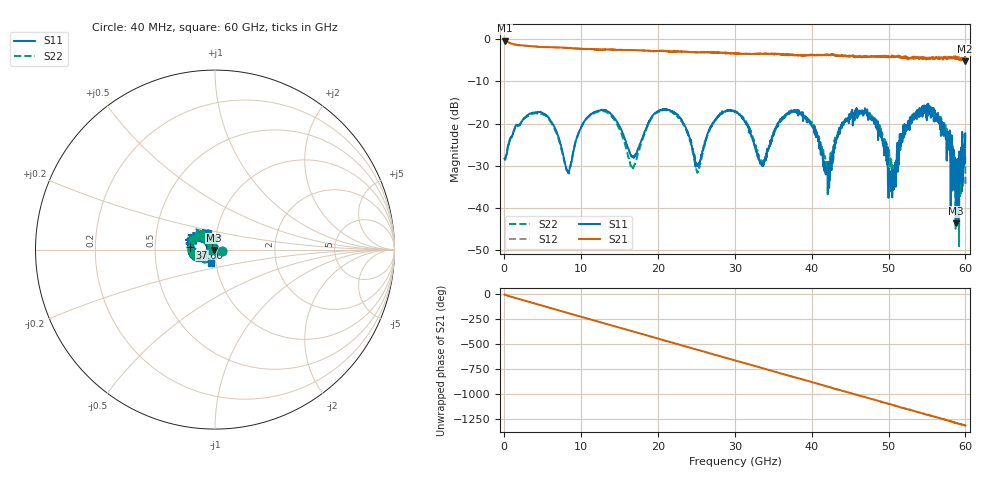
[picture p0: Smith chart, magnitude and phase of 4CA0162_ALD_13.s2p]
! File created by 'SoftPlot +Plus+ Measurement Management Software'
! SoftPlot +Plus+ Measurement Management Software
! Start 40.000000 MHz  Stop 60.000000 GHz  Points 1601
# MHZ S RI R 50
! S-Parameter data, F S11 S21 S12 S22
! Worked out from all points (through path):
!   1601 points, 40 MHz to 60 GHz, reference 50 ohm
!   highest |S21| = -0.37 dB at 40 MHz (marker M1); lowest = -5.3 dB at 59.93 GHz (marker M2)
!   group delay of S21, straight-line fit = 60.5 ps
!   lowest |S11| = -43.6 dB at 58.76 GHz (marker M3), VSWR 1.01, Z = 49.4 - j0.149 ohm
!   |S11| at or under -10 dB: start of sweep to end of sweep
!   |S22| runs from -49.0 to -16.3 dB; largest |S21 - S12| = 0.078
!   S11 on the Smith chart (normalised r, x): 40 MHz: 1.08, -0.02; 37.66 GHz: 0.76, +0.02; 60 GHz: 0.94, -0.14
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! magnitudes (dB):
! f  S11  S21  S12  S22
! 40 MHz  -28.3  -0.4  -0.3  -28.2
! 4.724 GHz  -17.3  -1.9  -1.9  -17.6
! 8.359 GHz  -31.5  -2.1  -2.1  -31.2
! 10.05 GHz  -20.7  -2.4  -2.3  -20.7
! 13.61 GHz  -17.3  -2.5  -2.5  -17.6
! 16.72 GHz  -27.9  -2.6  -2.6  -30.5
! 20.05 GHz  -17.0  -2.9  -2.8  -17.2
! 22.94 GHz  -18.8  -2.9  -3.0  -19.2
! 25.15 GHz  -29.6  -3.1  -3.1  -31.3
! 30.02 GHz  -17.2  -3.4  -3.3  -17.1
! 33.54 GHz  -29.8  -3.5  -3.5  -29.3
! 37.66 GHz  -17.1  -3.8  -3.8  -17.2
! 40.03 GHz  -20.6  -3.7  -3.8  -20.1
! 42.09 GHz  -36.7  -3.7  -3.6  -30.8
! 44.11 GHz  -20.2  -4.1  -3.9  -20.0
! 47.15 GHz  -17.4  -4.2  -4.2  -17.6
! 50.03 GHz  -30.6  -4.2  -4.1  -27.7
! 54.53 GHz  -15.8  -4.5  -4.5  -17.2
! 57.3 GHz  -21.4  -4.2  -4.6  -21.6
! 58.76 GHz  -43.6  -4.7  -4.3  -34.4
! 59.93 GHz  -22.5  -5.3  -4.7  -26.8
! 60 GHz  -22.3  -4.5  -4.6  -34.2
